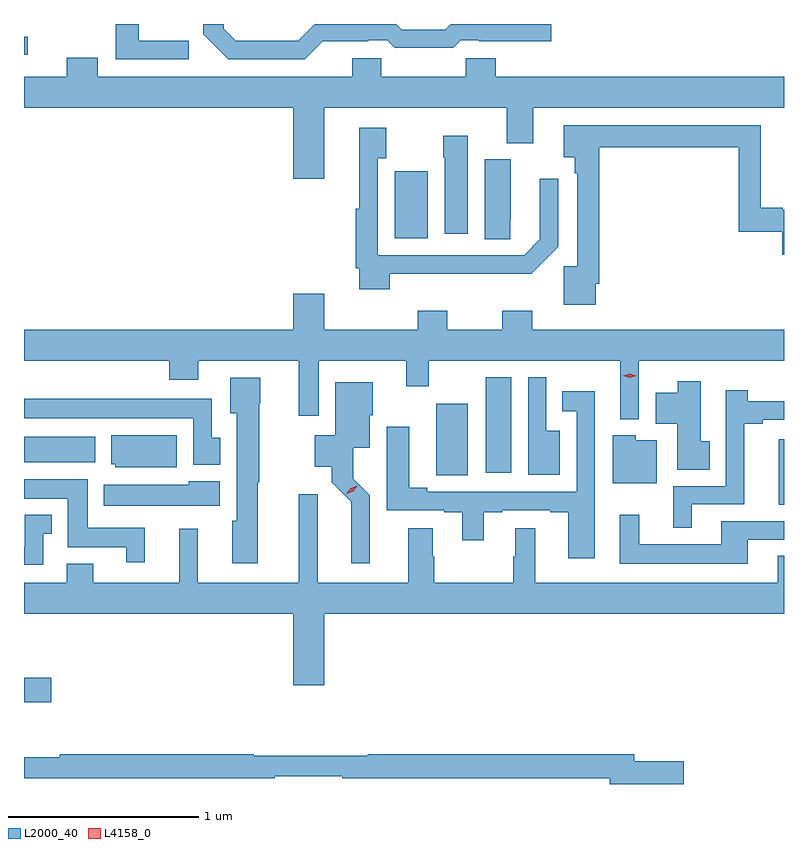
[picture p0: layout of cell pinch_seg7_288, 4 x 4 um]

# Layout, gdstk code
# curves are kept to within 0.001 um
import gdstk
lib = gdstk.Library(unit=1e-6, precision=1e-09)
def R(c, l, rs):  # rectangles x0, y0, x1, y1
    for r in rs: c.add(gdstk.rectangle(r[:2], r[2:], *l))
def P(c, l, *ps):  # polygons
    for p in ps: c.add(gdstk.Polygon(p, *l))
L2000_40 = (2000, 40)
L4158_0 = (4158, 0)

pinch_seg7_288 = lib.new_cell('pinch_seg7_288')
R(pinch_seg7_288, L2000_40, [(511.244,1049.435,511.387,1049.565), (515.216,1050.476,515.244,1050.82), (513.413,1050.63,513.58,1051.006), (513.674,1050.642,513.808,1051.147), (511.244,1050.698,511.618,1050.832), (511.244,1052.843,511.264,1052.937)])
P(pinch_seg7_288, L2000_40, [(512.11,1052.917),(511.849,1052.917),(511.849,1053.005),(511.728,1053.005),(511.728,1052.82),(512.11,1052.82)],
  [(512.816,1052.915),(513.056,1052.915),(513.056,1052.919),(513.156,1052.919),(513.196,1052.88),(513.503,1052.88),(513.543,1052.919),(513.637,1052.919),(513.637,1052.915),(514.018,1052.915),(514.018,1053.005),(513.491,1053.005),(513.462,1052.976),(513.231,1052.976),(513.202,1053.005),(512.774,1053.005),(512.687,1052.918),(512.582,1052.918),(512.582,1052.916),(512.358,1052.916),(512.295,1052.979),(512.295,1053.005),(512.188,1053.005),(512.188,1052.951),(512.318,1052.82),(512.721,1052.82)],
  [(513.785,1052.377),(513.925,1052.377),(513.925,1052.564),(515.244,1052.564),(515.244,1052.728),(513.728,1052.728),(513.728,1052.826),(513.568,1052.826),(513.568,1052.728),(513.123,1052.728),(513.123,1052.826),(512.972,1052.826),(512.972,1052.728),(511.633,1052.728),(511.633,1052.827),(511.469,1052.827),(511.469,1052.728),(511.244,1052.728),(511.244,1052.564),(512.66,1052.564),(512.66,1052.19),(512.824,1052.19),(512.824,1052.564),(513.785,1052.564)],
  [(514.252,1051.639),(514.271,1051.639),(514.271,1052.356),(515.005,1052.356),(515.005,1051.912),(515.234,1051.912),(515.234,1051.79),(515.244,1051.79),(515.244,1052.028),(515.238,1052.028),(515.238,1052.039),(515.122,1052.039),(515.122,1052.472),(514.085,1052.472),(514.085,1052.303),(514.143,1052.303),(514.143,1052.219),(514.155,1052.219),(514.155,1051.731),(514.086,1051.731),(514.086,1051.527),(514.252,1051.527)],
  [(513.169,1051.691),(513.915,1051.691),(514.056,1051.832),(514.056,1052.191),(513.959,1052.191),(513.959,1051.871),(513.876,1051.788),(513.105,1051.788),(513.105,1052.298),(513.151,1052.298),(513.151,1052.458),(513.008,1052.458),(513.008,1052.033),(512.989,1052.033),(512.989,1051.72),(513.008,1051.72),(513.008,1051.608),(513.169,1051.608)],
  [(513.58,1052.416),(513.451,1052.416),(513.451,1052.303),(513.458,1052.303),(513.458,1051.902),(513.58,1051.902)],
  [(513.804,1051.981),(513.805,1051.981),(513.805,1052.292),(513.668,1052.292),(513.668,1051.873),(513.804,1051.873)],
  [(513.37,1052.229),(513.195,1052.229),(513.195,1052.126),(513.194,1052.126),(513.194,1051.877),(513.37,1051.877)],
  [(514.479,1051.232),(515.244,1051.232),(515.244,1051.396),(513.92,1051.396),(513.92,1051.495),(513.76,1051.495),(513.76,1051.396),(513.471,1051.396),(513.471,1051.495),(513.316,1051.495),(513.316,1051.396),(512.824,1051.396),(512.824,1051.585),(512.66,1051.585),(512.66,1051.396),(511.244,1051.396),(511.244,1051.232),(512.009,1051.232),(512.009,1051.133),(512.161,1051.133),(512.161,1051.232),(512.69,1051.232),(512.69,1050.942),(512.794,1050.942),(512.794,1051.232),(513.257,1051.232),(513.257,1051.098),(513.375,1051.098),(513.375,1051.232),(514.382,1051.232),(514.382,1050.926),(514.479,1050.926)],
  [(514.063,1050.865),(513.993,1050.865),(513.993,1051.147),(513.897,1051.147),(513.897,1050.633),(514.063,1050.633)],
  [(512.473,1050.594),(512.481,1050.594),(512.481,1051.008),(512.488,1051.008),(512.488,1051.144),(512.33,1051.144),(512.33,1050.957),(512.363,1050.957),(512.363,1050.39),(512.339,1050.39),(512.339,1050.168),(512.473,1050.168)],
  [(514.853,1050.81),(514.807,1050.81),(514.807,1051.126),(514.685,1051.126),(514.685,1051.063),(514.568,1051.063),(514.568,1050.902),(514.682,1050.902),(514.682,1050.658),(514.853,1050.658)],
  [(513.063,1050.525),(512.976,1050.612),(512.976,1050.776),(513.064,1050.776),(513.064,1050.945),(513.079,1050.945),(513.079,1051.12),(512.882,1051.12),(512.882,1050.841),(512.774,1050.841),(512.774,1050.674),(512.863,1050.674),(512.863,1050.593),(512.967,1050.49),(512.966,1050.168),(513.063,1050.168)],
  [(514.759,1050.477),(515.036,1050.477),(515.036,1050.901),(515.131,1050.901),(515.131,1050.921),(515.244,1050.921),(515.244,1051.019),(515.054,1051.019),(515.054,1051.078),(514.938,1051.078),(514.938,1050.573),(514.661,1050.573),(514.661,1050.353),(514.759,1050.353)],
  [(514.249,1050.54),(514.248,1050.54),(514.248,1051.072),(514.078,1051.072),(514.078,1050.966),(514.152,1050.966),(514.152,1050.543),(513.367,1050.543),(513.367,1050.563),(513.271,1050.563),(513.271,1050.886),(513.152,1050.886),(513.152,1050.447),(513.455,1050.447),(513.455,1050.435),(513.551,1050.435),(513.551,1050.288),(513.664,1050.288),(513.664,1050.435),(513.76,1050.435),(513.76,1050.447),(514.013,1050.447),(514.013,1050.435),(514.109,1050.435),(514.109,1050.192),(514.249,1050.192)],
  [(512.278,1050.828),(512.233,1050.828),(512.233,1051.033),(511.244,1051.033),(511.244,1050.929),(512.136,1050.929),(512.136,1050.684),(512.278,1050.684)],
  [(514.573,1050.814),(514.464,1050.814),(514.464,1050.841),(514.343,1050.841),(514.343,1050.587),(514.573,1050.587)],
  [(512.047,1050.841),(511.703,1050.841),(511.703,1050.687),(511.725,1050.687),(511.725,1050.671),(512.047,1050.671)],
  [(511.88,1050.355),(511.579,1050.355),(511.579,1050.61),(511.244,1050.61),(511.244,1050.506),(511.475,1050.506),(511.475,1050.251),(511.781,1050.251),(511.781,1050.171),(511.88,1050.171)],
  [(512.275,1050.598),(512.112,1050.598),(512.112,1050.58),(511.664,1050.58),(511.664,1050.47),(512.275,1050.47)],
  [(512.824,1049.9),(515.244,1049.9),(515.244,1050.206),(515.21,1050.206),(515.21,1050.064),(513.934,1050.064),(513.934,1050.352),(513.83,1050.352),(513.83,1050.2),(513.82,1050.2),(513.82,1050.064),(513.402,1050.064),(513.402,1050.2),(513.394,1050.2),(513.394,1050.352),(513.266,1050.352),(513.266,1050.064),(512.791,1050.064),(512.791,1050.529),(512.69,1050.529),(512.69,1050.064),(512.159,1050.064),(512.159,1050.349),(512.06,1050.349),(512.06,1050.064),(511.609,1050.064),(511.609,1050.163),(511.469,1050.163),(511.469,1050.064),(511.244,1050.064),(511.244,1049.9),(512.66,1049.9),(512.66,1049.526),(512.824,1049.526)],
  [(511.344,1050.321),(511.39,1050.321),(511.39,1050.421),(511.248,1050.421),(511.248,1050.255),(511.244,1050.255),(511.244,1050.159),(511.344,1050.159)],
  [(515.053,1050.291),(515.244,1050.291),(515.244,1050.387),(514.913,1050.387),(514.913,1050.268),(514.483,1050.268),(514.483,1050.421),(514.379,1050.421),(514.379,1050.164),(515.053,1050.164)],
  [(514.717,1049.126),(514.456,1049.126),(514.456,1049.162),(513.052,1049.162),(513.052,1049.155),(512.452,1049.155),(512.452,1049.162),(511.433,1049.162),(511.433,1049.147),(511.244,1049.147),(511.244,1049.034),(512.564,1049.034),(512.564,1049.046),(512.92,1049.046),(512.92,1049.034),(514.328,1049.034),(514.328,1049.005),(514.717,1049.005)])
P(pinch_seg7_288, L4158_0, [(514.431,1051.144),(514.396,1051.154),(514.395,1051.154),(514.396,1051.154),(514.431,1051.164),(514.466,1051.155),(514.466,1051.154),(514.466,1051.154)],
  [(512.941,1050.532),(512.941,1050.532),(512.964,1050.562),(512.998,1050.576),(512.998,1050.576),(512.998,1050.576),(512.976,1050.546),(512.942,1050.532)])

lib.write_gds('pinch_seg7_288.gds')
